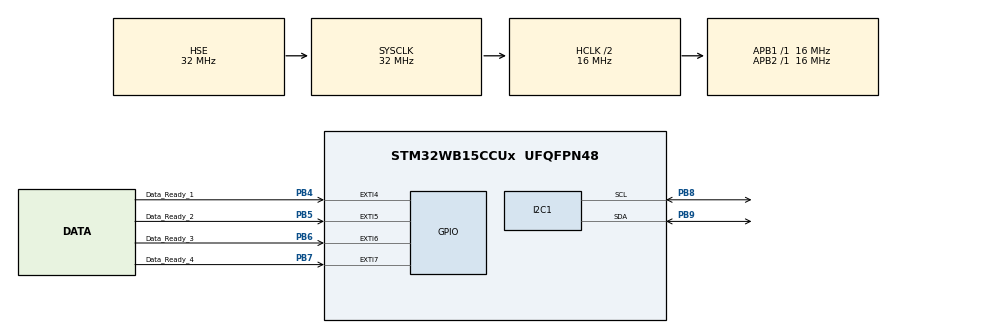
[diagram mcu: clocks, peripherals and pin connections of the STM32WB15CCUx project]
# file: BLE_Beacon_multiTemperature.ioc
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I2C1.Timing=0x00303D5B
Mcu.Family=STM32WB
Mcu.Name=STM32WB15CCUx
Mcu.Package=UFQFPN48
NVIC.EXTI4_IRQn=true\:15\:0\:true\:false\:true\:true\:true\:true
NVIC.EXTI9_5_IRQn=true\:15\:0\:true\:false\:true\:true\:true\:true
NVIC.HSEM_IRQn=true\:0\:0\:false\:false\:true\:false\:true\:true
NVIC.IPCC_C1_RX_IRQn=true\:0\:0\:false\:false\:true\:true\:true\:true
NVIC.IPCC_C1_TX_IRQn=true\:0\:0\:false\:false\:true\:true\:true\:true
NVIC.PriorityGroup=NVIC_PRIORITYGROUP_4
NVIC.RTC_WKUP_IRQn=true\:15\:0\:true\:false\:true\:true\:true\:true
OSC_IN.Mode=HSE-External-Oscillator
OSC_IN.Signal=RCC_OSC_IN
OSC_OUT.Mode=HSE-External-Oscillator
OSC_OUT.Signal=RCC_OSC_OUT
PB4.GPIO_Label=Data_Ready_1
PB4.GPIO_ModeDefaultEXTI=GPIO_MODE_IT_FALLING
PB4.Signal=GPXTI4
PB5.GPIO_Label=Data_Ready_2
PB5.GPIO_ModeDefaultEXTI=GPIO_MODE_IT_FALLING
PB5.Signal=GPXTI5
PB6.GPIO_Label=Data_Ready_3
PB6.GPIO_ModeDefaultEXTI=GPIO_MODE_IT_FALLING
PB6.Signal=GPXTI6
PB7.GPIO_Label=Data_Ready_4
PB7.GPIO_ModeDefaultEXTI=GPIO_MODE_IT_FALLING
PB7.Signal=GPXTI7
PB8.Mode=I2C
PB8.Signal=I2C1_SCL
PB9.Mode=I2C
PB9.Signal=I2C1_SDA
PC14-OSC32_IN.Mode=LSE-External-Oscillator
PC14-OSC32_IN.Signal=RCC_OSC32_IN
PC15-OSC32_OUT.Mode=LSE-External-Oscillator
PC15-OSC32_OUT.Signal=RCC_OSC32_OUT
ProjectManager.HeapSize=0x200
ProjectManager.StackSize=0x400
ProjectManager.TargetToolchain=STM32CubeIDE
RCC.AHBCLKDivider=RCC_SYSCLK_DIV2
RCC.AHBFreq_Value=16000000
RCC.APB1Freq_Value=16000000
RCC.APB1TimFreq_Value=16000000
RCC.APB2Freq_Value=16000000
RCC.APB2TimFreq_Value=16000000
RCC.APB3Freq_Value=16000000
RCC.CortexFreq_Value=16000000
RCC.HCLKFreq_Value=16000000
RCC.HSE_VALUE=32000000
RCC.HSI_VALUE=16000000
RCC.LSE_Drive_Capability=RCC_LSEDRIVE_LOW
RCC.MSIClockRange=RCC_MSIRANGE_10
RCC.RFWKPClockSelection=RCC_RFWKPCLKSOURCE_LSE
RCC.RTCClockSelection=RCC_RTCCLKSOURCE_LSE
RCC.SYSCLKFreq_VALUE=32000000
RCC.SYSCLKSource=RCC_SYSCLKSOURCE_HSE
RCC.VCOOutputFreq_Value=256000000
RF1.Mode=RF1_Activate
RF1.Signal=RF_RF1
RTC.WakeUpCounter-WakeUp=0xFFFF
STM32_WPAN.BT_SIG_BEACON=CFG_IBEACON
STM32_WPAN.CFG_BLE_ATT_VALUE_ARRAY_SIZE=1290
STM32_WPAN.CFG_BLE_NUM_GATT_ATTRIBUTES=30
STM32_WPAN.CFG_BLE_NUM_GATT_SERVICES=4
STM32_WPAN.CFG_DEBUGGER_SUPPORTED=0
STM32_WPAN.CFG_IO_CAPABILITY=\ CFG_IO_CAPABILITY_NO_INPUT_NO_OUTPUT
STM32_WPAN.CFG_LPM_SUPPORTED=1
STM32_WPAN.CFG_TX_POWER=(0x19) /* 0dBm */
STM32_WPAN.CFG_USE_SMPS=1
STM32_WPAN.DBG_TRACE_USE_CIRCULAR_QUEUE=0
VP_HSEM_VS_HSEM.Mode=HSEM_Activate
VP_IPCC_VS_IPCC.Mode=IPCC_Activate
VP_RTC_VS_RTC_Activate.Mode=RTC_Enabled
VP_RTC_VS_RTC_WakeUp_intern.Mode=WakeUp
VP_SEQUENCER_VS_SEQUENCER.Mode=SEQUENCER_Enabled
VP_STM32_WPAN_VS_BLE_HOST.Mode=STM32_WPAN_Enabled
VP_TINY_LPM_VS_TINY_LPM.Mode=TINY_LPM_Enabled
board=custom

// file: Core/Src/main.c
/* USER CODE BEGIN Header */
/**
  ******************************************************************************
  * @file           : main.c
  * @brief          : Main program body
  ******************************************************************************
  * @attention
  *
  * Copyright (c) 2023 STMicroelectronics.
  * All rights reserved.
  *
  * This software is licensed under terms that can be found in the LICENSE file
  * in the root directory of this software component.
  * If no LICENSE file comes with this software, it is provided AS-IS.
  *
  ******************************************************************************
  */
/* USER CODE END Header */
#include "main.h"

/* USER CODE BEGIN Includes */
#include "stm32_seq.h"
/* USER CODE END Includes */

I2C_HandleTypeDef hi2c1;

IPCC_HandleTypeDef hipcc;

RTC_HandleTypeDef hrtc;

/* USER CODE BEGIN PV */
uint8_t deviceToBeRead = 0;
/* USER CODE END PV */

void SystemClock_Config(void);
void PeriphCommonClock_Config(void);
static void MX_GPIO_Init(void);
static void MX_IPCC_Init(void);
static void MX_RTC_Init(void);
static void MX_I2C1_Init(void);
static void MX_RF_Init(void);

int main(void)
{

  /* MCU Configuration--------------------------------------------------------*/

  /* Reset of all peripherals, Initializes the Flash interface and the Systick. */
  HAL_Init();
  /* Config code for STM32_WPAN (HSE Tuning must be done before system clock configuration) */
  MX_APPE_Config();

  /* Configure the system clock */
  SystemClock_Config();

/* Configure the peripherals common clocks */
  PeriphCommonClock_Config();

  /* IPCC initialisation */
  MX_IPCC_Init();

  /* Initialize all configured peripherals */
  MX_GPIO_Init();
  MX_RTC_Init();
  MX_I2C1_Init();
  MX_RF_Init();

  /* Init code for STM32_WPAN */
  MX_APPE_Init();

  /* Infinite loop */
  while (1)
  {
    MX_APPE_Process();

  }
}

void SystemClock_Config(void)
{
  RCC_OscInitTypeDef RCC_OscInitStruct = {0};
  RCC_ClkInitTypeDef RCC_ClkInitStruct = {0};

  /** Configure LSE Drive Capability
  */
  HAL_PWR_EnableBkUpAccess();
  __HAL_RCC_LSEDRIVE_CONFIG(RCC_LSEDRIVE_LOW);

  /** Initializes the RCC Oscillators according to the specified parameters
  * in the RCC_OscInitTypeDef structure.
  */
  RCC_OscInitStruct.OscillatorType = RCC_OSCILLATORTYPE_HSI|RCC_OSCILLATORTYPE_HSE
                              |RCC_OSCILLATORTYPE_LSE;
  RCC_OscInitStruct.HSEState = RCC_HSE_ON;
  RCC_OscInitStruct.LSEState = RCC_LSE_ON;
  RCC_OscInitStruct.HSIState = RCC_HSI_ON;
  RCC_OscInitStruct.HSICalibrationValue = RCC_HSICALIBRATION_DEFAULT;
  RCC_OscInitStruct.PLL.PLLState = RCC_PLL_NONE;
  if (HAL_RCC_OscConfig(&RCC_OscInitStruct) != HAL_OK)
  {
    Error_Handler();
  }

  /** Configure the SYSCLKSource, HCLK, PCLK1 and PCLK2 clocks dividers
  */
  RCC_ClkInitStruct.ClockType = RCC_CLOCKTYPE_HCLK4|RCC_CLOCKTYPE_HCLK2
                              |RCC_CLOCKTYPE_HCLK|RCC_CLOCKTYPE_SYSCLK
                              |RCC_CLOCKTYPE_PCLK1|RCC_CLOCKTYPE_PCLK2;
  RCC_ClkInitStruct.SYSCLKSource = RCC_SYSCLKSOURCE_HSE;
  RCC_ClkInitStruct.AHBCLKDivider = RCC_SYSCLK_DIV2;
  RCC_ClkInitStruct.APB1CLKDivider = RCC_HCLK_DIV1;
  RCC_ClkInitStruct.APB2CLKDivider = RCC_HCLK_DIV1;
  RCC_ClkInitStruct.AHBCLK2Divider = RCC_SYSCLK_DIV1;
  RCC_ClkInitStruct.AHBCLK4Divider = RCC_SYSCLK_DIV1;

  if (HAL_RCC_ClockConfig(&RCC_ClkInitStruct, FLASH_LATENCY_1) != HAL_OK)
  {
    Error_Handler();
  }
}

void PeriphCommonClock_Config(void)
{
  RCC_PeriphCLKInitTypeDef PeriphClkInitStruct = {0};

  /** Initializes the peripherals clock
  */
  PeriphClkInitStruct.PeriphClockSelection = RCC_PERIPHCLK_SMPS|RCC_PERIPHCLK_RFWAKEUP;
  PeriphClkInitStruct.RFWakeUpClockSelection = RCC_RFWKPCLKSOURCE_LSE;
  PeriphClkInitStruct.SmpsClockSelection = RCC_SMPSCLKSOURCE_HSI;
  PeriphClkInitStruct.SmpsDivSelection = RCC_SMPSCLKDIV_RANGE1;

  if (HAL_RCCEx_PeriphCLKConfig(&PeriphClkInitStruct) != HAL_OK)
  {
    Error_Handler();
  }
}

static void MX_I2C1_Init(void)
{

  hi2c1.Instance = I2C1;
  hi2c1.Init.Timing = 0x00303D5B;
  hi2c1.Init.OwnAddress1 = 0;
  hi2c1.Init.AddressingMode = I2C_ADDRESSINGMODE_7BIT;
  hi2c1.Init.DualAddressMode = I2C_DUALADDRESS_DISABLE;
  hi2c1.Init.OwnAddress2 = 0;
  hi2c1.Init.OwnAddress2Masks = I2C_OA2_NOMASK;
  hi2c1.Init.GeneralCallMode = I2C_GENERALCALL_DISABLE;
  hi2c1.Init.NoStretchMode = I2C_NOSTRETCH_DISABLE;
  if (HAL_I2C_Init(&hi2c1) != HAL_OK)
  {
    Error_Handler();
  }

  /** Configure Analogue filter
  */
  if (HAL_I2CEx_ConfigAnalogFilter(&hi2c1, I2C_ANALOGFILTER_ENABLE) != HAL_OK)
  {
    Error_Handler();
  }

  /** Configure Digital filter
  */
  if (HAL_I2CEx_ConfigDigitalFilter(&hi2c1, 0) != HAL_OK)
  {
    Error_Handler();
  }

}

static void MX_IPCC_Init(void)
{

  hipcc.Instance = IPCC;
  if (HAL_IPCC_Init(&hipcc) != HAL_OK)
  {
    Error_Handler();
  }

}

static void MX_RF_Init(void)
{

}

static void MX_RTC_Init(void)
{

  /** Initialize RTC Only
  */
  hrtc.Instance = RTC;
  hrtc.Init.HourFormat = RTC_HOURFORMAT_24;
  hrtc.Init.AsynchPrediv = CFG_RTC_ASYNCH_PRESCALER;
  hrtc.Init.SynchPrediv = CFG_RTC_SYNCH_PRESCALER;
  hrtc.Init.OutPut = RTC_OUTPUT_DISABLE;
  hrtc.Init.OutPutPolarity = RTC_OUTPUT_POLARITY_HIGH;
  hrtc.Init.OutPutRemap = RTC_OUTPUT_REMAP_NONE;
  if (HAL_RTC_Init(&hrtc) != HAL_OK)
  {
    Error_Handler();
  }

  /** Enable the WakeUp
  */
  if (HAL_RTCEx_SetWakeUpTimer_IT(&hrtc, 0xFFFF, RTC_WAKEUPCLOCK_RTCCLK_DIV16) != HAL_OK)
  {
    Error_Handler();
  }
  /* USER CODE BEGIN RTC_Init 2 */
  HAL_RTCEx_DeactivateWakeUpTimer(&hrtc);
  /* USER CODE END RTC_Init 2 */

}

static void MX_GPIO_Init(void)
{
  GPIO_InitTypeDef GPIO_InitStruct = {0};

  /* GPIO Ports Clock Enable */
  __HAL_RCC_GPIOC_CLK_ENABLE();
  __HAL_RCC_GPIOH_CLK_ENABLE();
  __HAL_RCC_GPIOB_CLK_ENABLE();
  __HAL_RCC_GPIOA_CLK_ENABLE();
  __HAL_RCC_GPIOE_CLK_ENABLE();

  /*Configure GPIO pin : PH3 */
  GPIO_InitStruct.Pin = GPIO_PIN_3;
  GPIO_InitStruct.Mode = GPIO_MODE_ANALOG;
  GPIO_InitStruct.Pull = GPIO_NOPULL;
  HAL_GPIO_Init(GPIOH, &GPIO_InitStruct);

  /*Configure GPIO pins : PA0 PA1 PA2 PA3
                           PA4 PA5 PA6 PA7
                           PA8 PA9 PA10 PA11
                           PA12 PA13 PA14 PA15 */
  GPIO_InitStruct.Pin = GPIO_PIN_0|GPIO_PIN_1|GPIO_PIN_2|GPIO_PIN_3
                          |GPIO_PIN_4|GPIO_PIN_5|GPIO_PIN_6|GPIO_PIN_7
                          |GPIO_PIN_8|GPIO_PIN_9|GPIO_PIN_10|GPIO_PIN_11
                          |GPIO_PIN_12|GPIO_PIN_13|GPIO_PIN_14|GPIO_PIN_15;
  GPIO_InitStruct.Mode = GPIO_MODE_ANALOG;
  GPIO_InitStruct.Pull = GPIO_NOPULL;
  HAL_GPIO_Init(GPIOA, &GPIO_InitStruct);

  /*Configure GPIO pins : PB2 PB0 PB1 PB3 */
  GPIO_InitStruct.Pin = GPIO_PIN_2|GPIO_PIN_0|GPIO_PIN_1|GPIO_PIN_3;
  GPIO_InitStruct.Mode = GPIO_MODE_ANALOG;
  GPIO_InitStruct.Pull = GPIO_NOPULL;
  HAL_GPIO_Init(GPIOB, &GPIO_InitStruct);

  /*Configure GPIO pin : PE4 */
  GPIO_InitStruct.Pin = GPIO_PIN_4;
  GPIO_InitStruct.Mode = GPIO_MODE_ANALOG;
  GPIO_InitStruct.Pull = GPIO_NOPULL;
  HAL_GPIO_Init(GPIOE, &GPIO_InitStruct);

  /*Configure GPIO pins : Data_Ready_1_Pin Data_Ready_2_Pin Data_Ready_3_Pin Data_Ready_4_Pin */
  GPIO_InitStruct.Pin = Data_Ready_1_Pin|Data_Ready_2_Pin|Data_Ready_3_Pin|Data_Ready_4_Pin;
  GPIO_InitStruct.Mode = GPIO_MODE_IT_FALLING;
  GPIO_InitStruct.Pull = GPIO_NOPULL;
  HAL_GPIO_Init(GPIOB, &GPIO_InitStruct);

  /* EXTI interrupt init*/
  HAL_NVIC_SetPriority(EXTI4_IRQn, 15, 0);
  HAL_NVIC_EnableIRQ(EXTI4_IRQn);

  HAL_NVIC_SetPriority(EXTI9_5_IRQn, 12, 0);
  HAL_NVIC_EnableIRQ(EXTI9_5_IRQn);

}

/* USER CODE BEGIN 4 */
void HAL_GPIO_EXTI_Callback(uint16_t GPIO_Pin) {
	if(GPIO_Pin == Data_Ready_1_Pin) {
		SystemClock_Config ();
		HAL_ResumeTick();
		deviceToBeRead = 1;
		UTIL_SEQ_SetTask(1<<CFG_TASK_UPDATE_TEMP, CFG_SCH_PRIO_0);
	}
	else if(GPIO_Pin == Data_Ready_2_Pin) {
		SystemClock_Config ();
		HAL_ResumeTick();
		deviceToBeRead = 2;
		UTIL_SEQ_SetTask(1<<CFG_TASK_UPDATE_TEMP, CFG_SCH_PRIO_0);
	}
	else if(GPIO_Pin == Data_Ready_3_Pin) {
		SystemClock_Config ();
		HAL_ResumeTick();
		deviceToBeRead = 3;
		UTIL_SEQ_SetTask(1<<CFG_TASK_UPDATE_TEMP, CFG_SCH_PRIO_0);
	}
	else if(GPIO_Pin == Data_Ready_4_Pin) {
		SystemClock_Config ();
		HAL_ResumeTick();
		deviceToBeRead = 4;
		UTIL_SEQ_SetTask(1<<CFG_TASK_UPDATE_TEMP, CFG_SCH_PRIO_0);
	}
}
/* USER CODE END 4 */

void Error_Handler(void)
{
  __disable_irq();
  while (1)
  {
  }
}
